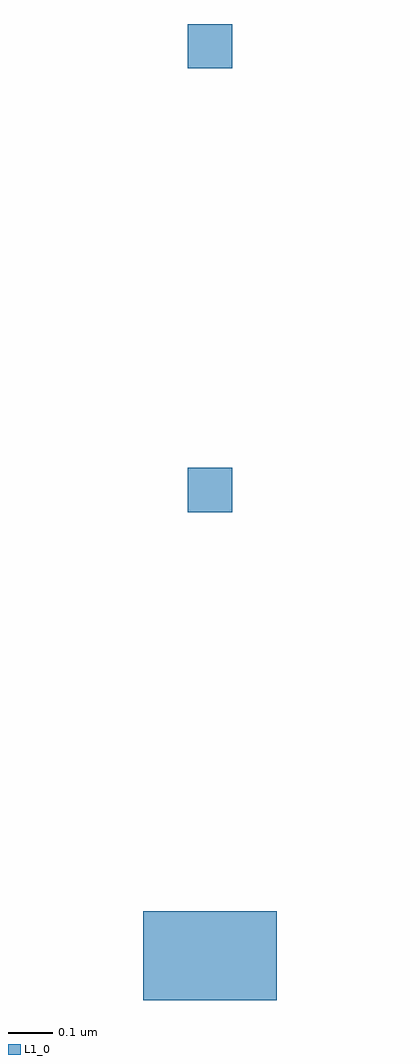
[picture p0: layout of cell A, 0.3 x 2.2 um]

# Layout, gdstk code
from math import pi, radians
import gdstk
lib = gdstk.Library(unit=1e-6, precision=1e-09)
def R(c, l, rs):  # rectangles x0, y0, x1, y1
    for r in rs: c.add(gdstk.rectangle(r[:2], r[2:], *l))
L1_0 = (1, 0)

c_b = lib.new_cell('B')
R(c_b, L1_0, [(0,0,0.1,0.1)])

c_a = lib.new_cell('A')
c_a.add(gdstk.Reference(c_b, (0,1)))
c_a.add(gdstk.Reference(c_b, (0,2)))
r = gdstk.Reference(c_b, (0,0), rotation=3*pi/2, x_reflection=True); r.repetition = gdstk.Repetition(3, 2, v1=(0.1,0), v2=(0,0.1)); c_a.add(r)

lib.write_gds('A.gds')
